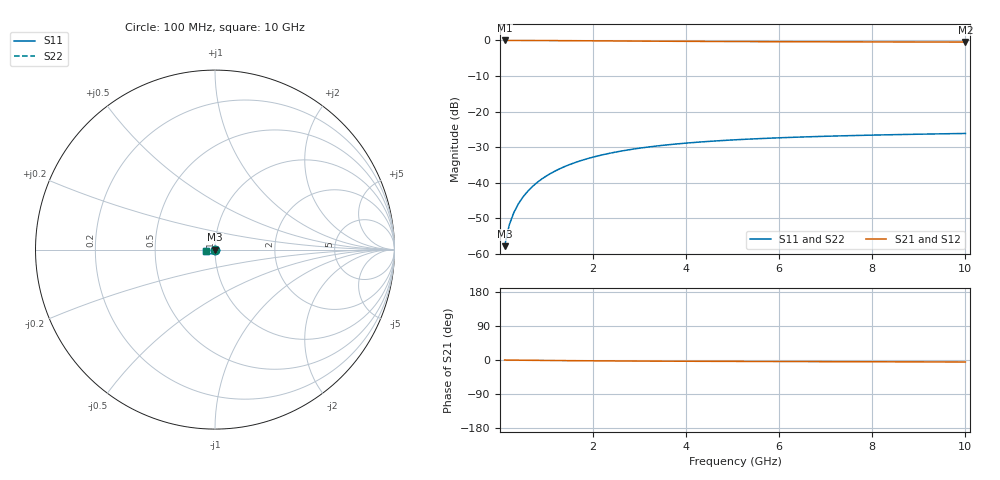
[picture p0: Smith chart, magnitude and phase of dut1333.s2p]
! Touchstone file exported from HFSS 2024.1.0
!  File:  C:/UserFiles/LocalFiles/RDL_TSV_Batchsim/temp_TSV1_1333_1780375598.aedt
!  Generated:  12:52:14 PM Jun  2, 2026
!  Design:  TSV1
!  Project:  temp_TSV1_1333_1780375598
!  Setup:  Setup1
!  Solution:  Sweep
! Variables:
!  dtsv = 9.9um
!  hbump = 3um
!  htsv = 83.3um
!  lrdl = 252.1521522um
!  p = 40
!  p1 = 44.52um
!  t = 500um
!  trdl = 3um
!  wrdl = 24.89489489um
# GHz S MA R 50.000000
! Terminal data exported
! Port[1] = TSV22_T1
! Port[2] = TSV22_T2
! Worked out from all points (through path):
!   100 points, 100 MHz to 10 GHz, reference 50 ohm
!   highest |S21| = 0.00 dB at 100 MHz (marker M1); lowest = -0.4 dB at 10 GHz (marker M2)
!   lowest |S11| = -57.8 dB at 100 MHz (marker M3), VSWR 1.00, Z = 50 - j0.129 ohm
!   |S11| at or under -10 dB: start of sweep to end of sweep
!   |S22| runs from -57.8 to -26.1 dB; largest |S21 - S12| = 1.1e-15
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0.1  0.00129 -84.8  0.9998 -0.1  0.9998 -0.1  0.00129 -84.8
! Gamma 0 0 0 0
! Port Impedance 50 0 50 0
0.2  0.002569 -89.6  0.9997 -0.2  0.9997 -0.2  0.002569 -89.6
0.3  0.00385 -92.3  0.9995 -0.4  0.9995 -0.4  0.00385 -92.3
0.4  0.005129 -94.5  0.9992 -0.5  0.9992 -0.5  0.005129 -94.5
0.5  0.006399 -96.4  0.9989 -0.6  0.9989 -0.6  0.006399 -96.4
0.6  0.007658 -98.3  0.9985 -0.7  0.9985 -0.7  0.007658 -98.3
0.7  0.008902 -100.0  0.998 -0.9  0.998 -0.9  0.008902 -100.0
0.8  0.01013 -101.8  0.9975 -1.0  0.9975 -1.0  0.01013 -101.8
0.9  0.01134 -103.4  0.9969 -1.1  0.9969 -1.1  0.01134 -103.4
1.1  0.01369 -106.7  0.9956 -1.3  0.9956 -1.3  0.01369 -106.7
1.4  0.01703 -111.3  0.9934 -1.6  0.9934 -1.6  0.01703 -111.3
1.6  0.01912 -114.2  0.9918 -1.8  0.9918 -1.8  0.01912 -114.2
1.8  0.02111 -117.0  0.99 -2.0  0.99 -2.0  0.02111 -117.0
2.1  0.02387 -121.0  0.9874 -2.2  0.9874 -2.2  0.02387 -121.0
2.5  0.02716 -125.9  0.9837 -2.5  0.9837 -2.5  0.02716 -125.9
2.9  0.03003 -130.5  0.9802 -2.7  0.9802 -2.7  0.03003 -130.5
3.4  0.0331 -135.5  0.9761 -3.0  0.9761 -3.0  0.0331 -135.6
4.2  0.03704 -142.6  0.9703 -3.4  0.9703 -3.4  0.03704 -142.6
5.1  0.04038 -149.3  0.965 -3.7  0.965 -3.7  0.04038 -149.3
6.7  0.0445 -158.7  0.958 -4.2  0.958 -4.2  0.0445 -158.7
8.4  0.04741 -166.6  0.9529 -4.8  0.9529 -4.8  0.04741 -166.6
10  0.04939 -172.7  0.9496 -5.3  0.9496 -5.3  0.04939 -172.7
